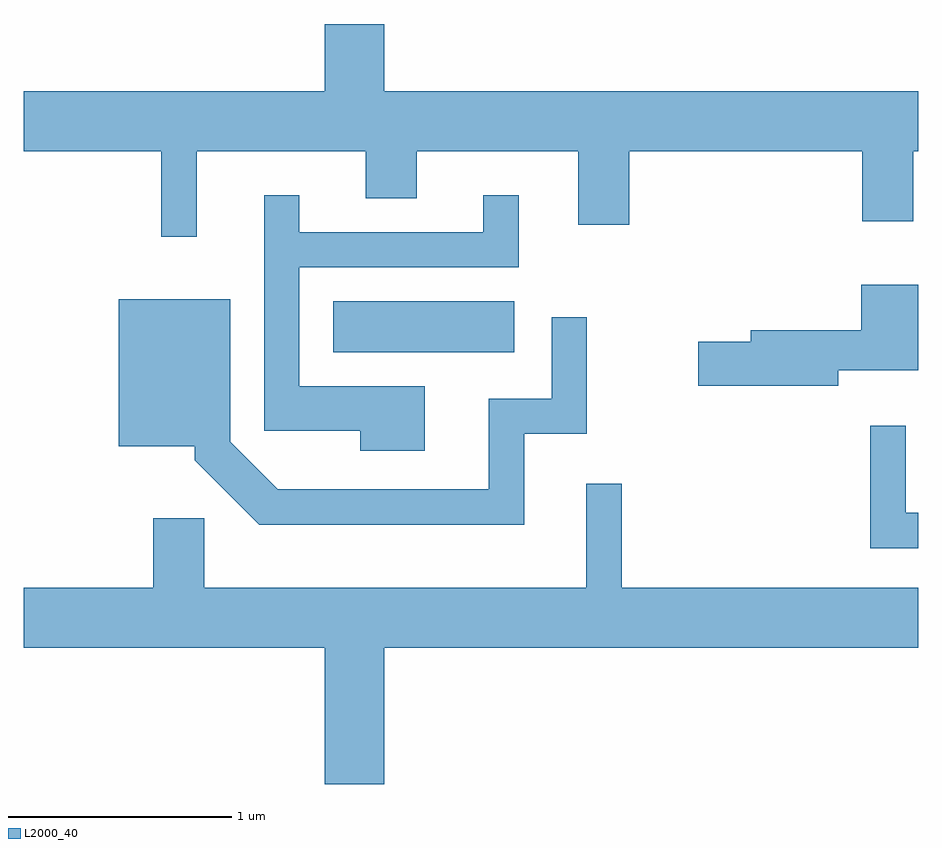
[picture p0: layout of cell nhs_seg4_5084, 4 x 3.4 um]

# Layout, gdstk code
import gdstk
lib = gdstk.Library(unit=1e-6, precision=1e-09)
def R(c, l, rs):  # rectangles x0, y0, x1, y1
    for r in rs: c.add(gdstk.rectangle(r[:2], r[2:], *l))
def P(c, l, *ps):  # polygons
    for p in ps: c.add(gdstk.Polygon(p, *l))
L2000_40 = (2000, 40)

nhs_seg4_5084 = lib.new_cell('nhs_seg4_5084')
R(nhs_seg4_5084, L2000_40, [(334.996,1360.436,335.804,1360.664)])
P(nhs_seg4_5084, L2000_40, [(334.384,1361.336),(335.141,1361.336),(335.141,1361.126),(335.369,1361.126),(335.369,1361.336),(336.091,1361.336),(336.091,1361.006),(336.319,1361.006),(336.319,1361.336),(337.361,1361.336),(337.361,1361.021),(337.589,1361.021),(337.589,1361.336),(337.611,1361.336),(337.611,1361.604),(335.224,1361.604),(335.224,1361.904),(334.956,1361.904),(334.956,1361.604),(333.611,1361.604),(333.611,1361.336),(334.226,1361.336),(334.226,1360.953),(334.384,1360.953)],
  [(335.404,1360.284),(334.844,1360.284),(334.844,1360.816),(335.824,1360.816),(335.824,1361.138),(335.666,1361.138),(335.666,1360.974),(334.844,1360.974),(334.844,1361.138),(334.686,1361.138),(334.686,1360.086),(335.116,1360.086),(335.116,1359.996),(335.404,1359.996)],
  [(337.254,1360.356),(337.611,1360.356),(337.611,1360.739),(337.356,1360.739),(337.356,1360.534),(336.861,1360.534),(336.861,1360.484),(336.626,1360.484),(336.626,1360.286),(337.254,1360.286)],
  [(335.849,1360.071),(336.129,1360.071),(336.129,1360.593),(335.971,1360.593),(335.971,1360.229),(335.691,1360.229),(335.691,1359.824),(334.747,1359.824),(334.534,1360.037),(334.534,1360.674),(334.036,1360.674),(334.036,1360.016),(334.376,1360.016),(334.376,1359.954),(334.664,1359.666),(335.849,1359.666)],
  [(337.611,1359.719),(337.554,1359.719),(337.554,1360.108),(337.396,1360.108),(337.396,1359.561),(337.611,1359.561)],
  [(335.224,1359.116),(337.611,1359.116),(337.611,1359.384),(336.284,1359.384),(336.284,1359.848),(336.126,1359.848),(336.126,1359.384),(334.419,1359.384),(334.419,1359.694),(334.191,1359.694),(334.191,1359.384),(333.611,1359.384),(333.611,1359.116),(334.956,1359.116),(334.956,1358.506),(335.224,1358.506)])

lib.write_gds('nhs_seg4_5084.gds')
